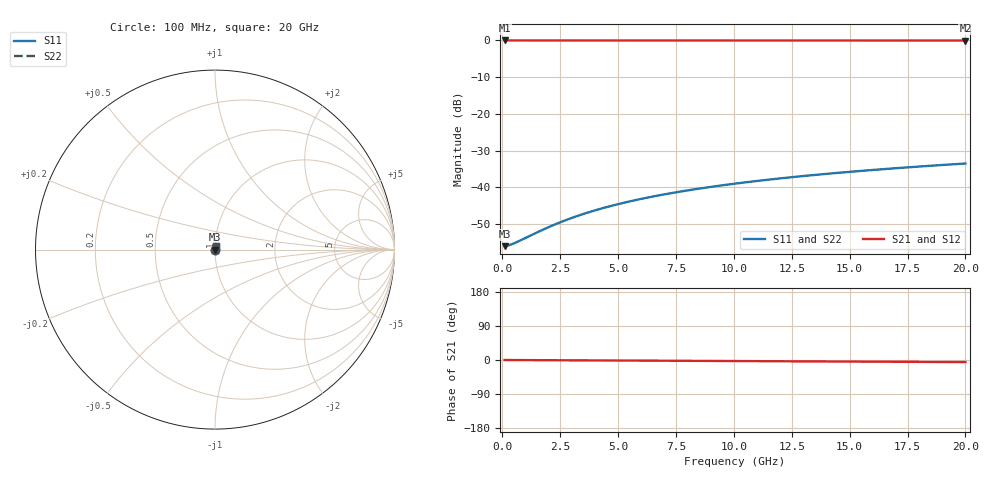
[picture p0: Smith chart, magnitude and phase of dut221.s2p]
! Touchstone file exported from HFSS 2026.1.0
!  File:  C:/ffzhzh/LocalFiles/Ansys_Project_Files/temp_train_TSV_221_1782992189_45328.aedt
!  Generated:  07:38:21 PM Jul  2, 2026
!  Design:  TSV
!  Project:  temp_train_TSV_221_1782992189_45328
! Variables:
!  h_bsmrdl = 2um
!  h_ox = 20um
!  h_rdl = 5um
!  h_sub = 57.93um
!  h_tmrdl = 5um
!  h_tsv = 57.93um
!  h_via = 3um
!  l_bsmrdl = 300um
!  l_sub = 404.14um
!  l_tmrdl = 200um
!  m_sub = 200um
!  pitch = 11.35um
!  r_tsv = 2.07um
!  s_tmrdl = 10um
!  w_bsmrdl = 18um
!  w_sub = 500um
!  w_tmrdl = 12um
!  x_tsv_center1 = 206um
!  x_tsv_center2 = 524um
!  x_tsv_center3 = 736um
!  x_tsv_center4 = 1054um
!  x_tsv_center5 = 1266um
!  x_tsv_center6 = 1584um
# GHz S MA R 50.000000
! Terminal data exported
! Port[1] = TSV1_1_T1
! Port[2] = TSV1_1_T2
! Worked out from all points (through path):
!   200 points, 100 MHz to 20 GHz, reference 50 ohm
!   highest |S21| = -0.01 dB at 100 MHz (marker M1); lowest = 0.0 dB at 20 GHz (marker M2)
!   lowest |S11| = -56.0 dB at 100 MHz (marker M3), VSWR 1.00, Z = 50.2 + j0.0127 ohm
!   |S11| at or under -10 dB: start of sweep to end of sweep
!   |S22| runs from -56.0 to -33.5 dB; largest |S21 - S12| = 6.3e-15
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0.1  0.001579 4.6  0.9984 -0.0  0.9984 -0.0  0.001579 4.6
! Gamma 0 0 0 0
! Port Impedance 50 0 50 0
0.2  0.001599 9.1  0.9984 -0.1  0.9984 -0.1  0.001599 9.1
0.3  0.00163 13.3  0.9984 -0.1  0.9984 -0.1  0.00163 13.3
0.5  0.001722 21.0  0.9984 -0.1  0.9984 -0.1  0.001722 21.0
1.7  0.0026 48.5  0.9983 -0.5  0.9983 -0.5  0.0026 48.5
2.4  0.00324 56.8  0.9983 -0.7  0.9983 -0.7  0.00324 56.8
2.9  0.003727 60.8  0.9982 -0.8  0.9982 -0.8  0.003727 60.8
3.5  0.004332 64.4  0.9982 -1.0  0.9982 -1.0  0.004332 64.4
4.2  0.005056 67.4  0.9981 -1.2  0.9981 -1.2  0.005056 67.4
5  0.005896 69.8  0.9981 -1.4  0.9981 -1.4  0.005896 69.8
5.9  0.006849 71.6  0.998 -1.7  0.998 -1.7  0.006849 71.6
6.8  0.007803 72.8  0.9979 -1.9  0.9979 -1.9  0.007803 72.8
7.6  0.00865 73.6  0.9978 -2.1  0.9978 -2.1  0.00865 73.6
8.4  0.009493 74.2  0.9977 -2.3  0.9977 -2.3  0.009493 74.2
9.2  0.01033 74.6  0.9976 -2.6  0.9976 -2.6  0.01033 74.6
10.1  0.01127 74.9  0.9975 -2.8  0.9975 -2.8  0.01127 74.9
11.7  0.01292 75.2  0.9973 -3.3  0.9973 -3.3  0.01292 75.2
13.4  0.01464 75.3  0.9971 -3.7  0.9971 -3.7  0.01464 75.3
15  0.01623 75.3  0.9969 -4.2  0.9969 -4.2  0.01623 75.3
16.7  0.01791 75.1  0.9967 -4.6  0.9967 -4.6  0.01791 75.1
18.3  0.01946 75.0  0.9964 -5.1  0.9964 -5.1  0.01946 75.0
20  0.02109 74.8  0.9962 -5.5  0.9962 -5.5  0.02109 74.8
